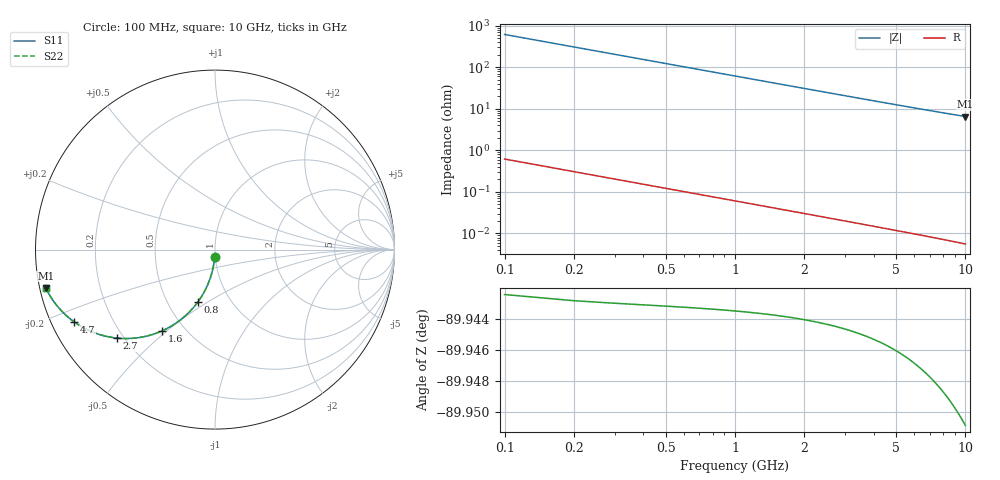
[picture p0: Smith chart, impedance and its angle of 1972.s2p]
# Hz S RI R 50.00
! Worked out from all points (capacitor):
!   100 points, 100 MHz to 10 GHz, reference 50 ohm
!   read as one part in shunt: C = 2.58 pF near 100 MHz
!   lowest |Z| = 6.54 ohm at 10 GHz (marker M1)
!   S11 on the Smith chart (normalised r, x): 100 MHz: 0.99, -0.08; 800 MHz: 0.70, -0.45; 1.6 GHz: 0.37, -0.48; 2.7 GHz: 0.18, -0.38; 4.7 GHz: 0.07, -0.24; 10 GHz: 0.02, -0.11
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1e8  -0.00166 -0.0403  0.9983 -0.0407  0.9983 -0.0407  -0.00166 -0.0403
2e8  -0.00659 -0.0803  0.9933 -0.0809  0.9933 -0.0809  -0.00659 -0.0803
3e8  -0.0147 -0.1194  0.9853 -0.1204  0.9853 -0.1204  -0.0147 -0.1194
4e8  -0.0258 -0.1574  0.9742 -0.1587  0.9742 -0.1587  -0.0258 -0.1574
5e8  -0.0397 -0.194  0.9603 -0.1956  0.9603 -0.1956  -0.0397 -0.194
6e8  -0.0561 -0.2287  0.9438 -0.2306  0.9438 -0.2306  -0.0561 -0.2287
8e8  -0.0955 -0.2921  0.9045 -0.2947  0.9045 -0.2947  -0.0955 -0.2921
1e9  -0.1414 -0.3464  0.8585 -0.3496  0.8585 -0.3496  -0.1414 -0.3464
1.2e9  -0.1916 -0.3912  0.8083 -0.395  0.8083 -0.395  -0.1916 -0.3912
1.4e9  -0.2438 -0.4266  0.7561 -0.4311  0.7561 -0.4311  -0.2438 -0.4266
1.6e9  -0.2962 -0.4535  0.7037 -0.4587  0.7037 -0.4587  -0.2962 -0.4535
1.8e9  -0.3474 -0.4728  0.6525 -0.4786  0.6525 -0.4786  -0.3474 -0.4728
2.2e9  -0.4427 -0.4927  0.5572 -0.4998  0.5572 -0.4998  -0.4427 -0.4927
2.7e9  -0.5445 -0.4931  0.4554 -0.5019  0.4554 -0.5019  -0.5445 -0.4931
3.4e9  -0.6543 -0.4695  0.3455 -0.4806  0.3455 -0.4806  -0.6543 -0.4695
4e9  -0.7237 -0.4401  0.2762 -0.4532  0.2762 -0.4532  -0.7237 -0.4401
4.7e9  -0.7833 -0.4037  0.2165 -0.4192  0.2165 -0.4192  -0.7833 -0.4037
5.1e9  -0.8098 -0.3834  0.19 -0.4003  0.19 -0.4003  -0.8098 -0.3834
5.8e9  -0.8464 -0.3503  0.1534 -0.3696  0.1534 -0.3696  -0.8464 -0.3503
6.7e9  -0.8804 -0.3125  0.1193 -0.335  0.1193 -0.335  -0.8804 -0.3125
8.4e9  -0.9208 -0.2549  0.0787 -0.2834  0.0787 -0.2834  -0.9208 -0.2549
1e10  -0.9431 -0.2132  0.0562 -0.2476  0.0562 -0.2476  -0.9431 -0.2132
